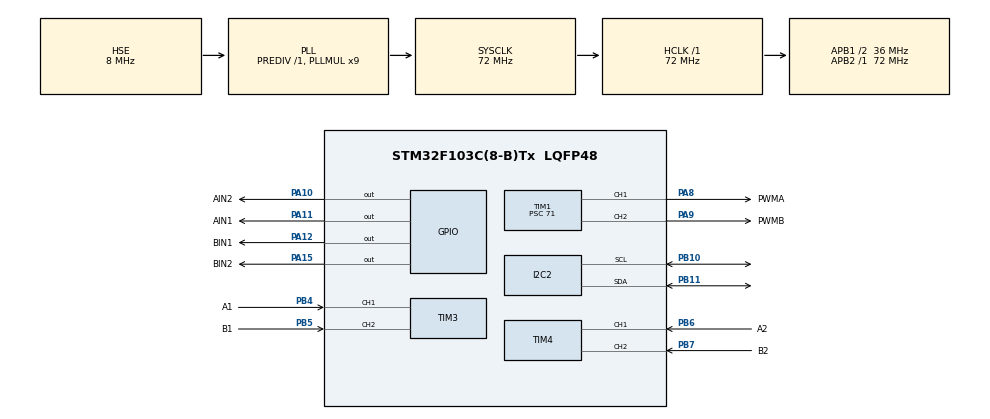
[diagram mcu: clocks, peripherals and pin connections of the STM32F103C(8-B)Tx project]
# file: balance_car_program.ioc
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I2C2.I2C_Mode=I2C_Fast
Mcu.Family=STM32F1
Mcu.Name=STM32F103C(8-B)Tx
Mcu.Package=LQFP48
NVIC.PriorityGroup=NVIC_PRIORITYGROUP_4
NVIC.TIM2_IRQn=true\:15\:0\:false\:false\:true\:false\:true\:true
NVIC.TimeBase=TIM2_IRQn
NVIC.TimeBaseIP=TIM2
PA10.GPIO_Label=AIN2
PA10.Signal=GPIO_Output
PA11.GPIO_Label=AIN1
PA11.PinState=GPIO_PIN_SET
PA11.Signal=GPIO_Output
PA12.GPIO_Label=BIN1
PA12.Signal=GPIO_Output
PA13.Mode=Serial_Wire
PA13.Signal=SYS_JTMS-SWDIO
PA14.Mode=Serial_Wire
PA14.Signal=SYS_JTCK-SWCLK
PA15.GPIO_Label=BIN2
PA15.PinState=GPIO_PIN_SET
PA15.Signal=GPIO_Output
PA8.GPIO_Label=PWMA
PA8.Signal=S_TIM1_CH1
PA9.GPIO_Label=PWMB
PA9.Signal=S_TIM1_CH2
PB10.Mode=I2C
PB10.Signal=I2C2_SCL
PB11.Mode=I2C
PB11.Signal=I2C2_SDA
PB4.GPIO_Label=A1
PB4.Signal=S_TIM3_CH1
PB5.GPIO_Label=B1
PB5.Signal=S_TIM3_CH2
PB6.GPIO_Label=A2
PB6.Signal=S_TIM4_CH1
PB7.GPIO_Label=B2
PB7.Signal=S_TIM4_CH2
PD0-OSC_IN.Mode=HSE-External-Oscillator
PD0-OSC_IN.Signal=RCC_OSC_IN
PD1-OSC_OUT.Mode=HSE-External-Oscillator
PD1-OSC_OUT.Signal=RCC_OSC_OUT
ProjectManager.HeapSize=0x200
ProjectManager.StackSize=0x400
ProjectManager.TargetToolchain=CMake
RCC.AHBFreq_Value=72000000
RCC.APB1CLKDivider=RCC_HCLK_DIV2
RCC.APB1Freq_Value=36000000
RCC.APB1TimFreq_Value=72000000
RCC.APB2Freq_Value=72000000
RCC.APB2TimFreq_Value=72000000
RCC.HCLKFreq_Value=72000000
RCC.PLLMUL=RCC_PLL_MUL9
RCC.PLLSourceVirtual=RCC_PLLSOURCE_HSE
RCC.SYSCLKFreq_VALUE=72000000
RCC.SYSCLKSource=RCC_SYSCLKSOURCE_PLLCLK
RCC.USBFreq_Value=72000000
SH.S_TIM1_CH1.0=TIM1_CH1,PWM Generation1 CH1
SH.S_TIM1_CH2.0=TIM1_CH2,PWM Generation2 CH2
SH.S_TIM3_CH1.0=TIM3_CH1,Encoder_Interface
SH.S_TIM3_CH2.0=TIM3_CH2,Encoder_Interface
SH.S_TIM4_CH1.0=TIM4_CH1,Encoder_Interface
SH.S_TIM4_CH2.0=TIM4_CH2,Encoder_Interface
TIM1.Channel-PWM\ Generation1\ CH1=TIM_CHANNEL_1
TIM1.Channel-PWM\ Generation2\ CH2=TIM_CHANNEL_2
TIM1.Period=999
TIM1.Prescaler=71
TIM3.EncoderMode=TIM_ENCODERMODE_TI12
TIM3.TIM_MasterSlaveMode=TIM_MASTERSLAVEMODE_DISABLE
TIM4.EncoderMode=TIM_ENCODERMODE_TI12
VP_SYS_VS_tim2.Mode=TIM2
VP_TIM1_VS_ClockSourceINT.Mode=Internal
board=custom

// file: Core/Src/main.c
/* USER CODE BEGIN Header */
/**
  ******************************************************************************
  * @file           : main.c
  * @brief          : Main program body
  ******************************************************************************
  * @attention
  *
  * Copyright (c) 2026 STMicroelectronics.
  * All rights reserved.
  *
  * This software is licensed under terms that can be found in the LICENSE file
  * in the root directory of this software component.
  * If no LICENSE file comes with this software, it is provided AS-IS.
  *
  ******************************************************************************
  */
/* USER CODE END Header */
#include "main.h"
#include "i2c.h"
#include "tim.h"
#include "gpio.h"

/* USER CODE BEGIN Includes */
#include "oled.h"
#include "MPU6050.h"
#include "oled_task.h"
#include "angle.h"
#include "speed.h"
#include "pid.h"
#include "direction.h"
/* USER CODE END Includes */

/* USER CODE BEGIN PV */
TaskHandle_t angle_task_handle;
TaskHandle_t oled_task_handle;
TaskHandle_t speed_task_handle;
TaskHandle_t pid_angle_task_handle;
TaskHandle_t pid_speed_task_handle;
/* USER CODE END PV */

void SystemClock_Config(void);

int main(void)
{

  /* USER CODE BEGIN 1 */
    BaseType_t xReturn;
  /* USER CODE END 1 */

  /* MCU Configuration--------------------------------------------------------*/

  /* Reset of all peripherals, Initializes the Flash interface and the Systick. */
  HAL_Init();

  /* Configure the system clock */
  SystemClock_Config();

  /* Initialize all configured peripherals */
  MX_GPIO_Init();
  MX_TIM1_Init();
  MX_I2C2_Init();
  MX_TIM3_Init();
  MX_TIM4_Init();
  /* USER CODE BEGIN 2 */
  OLED_Init();
    MPU6050_init();
    encoder_start();
    direction_forward();
    HAL_TIM_PWM_Start(&htim1, TIM_CHANNEL_1);
    HAL_TIM_PWM_Start(&htim1, TIM_CHANNEL_2);

    xReturn = xTaskCreate(angle_calculate_task, "angle_calculate_task", 100, NULL, 3, &angle_task_handle);
    configASSERT(xReturn == pdTRUE);

//    xReturn = xTaskCreate(pid_angle_task, "pid_angle_task", 100, NULL, 3, &pid_angle_task_handle);
//    configASSERT(xReturn == pdTRUE);

    xReturn = xTaskCreate(speed_get_value_task, "speed_get_value_task", 64, NULL, 2, &speed_task_handle);
    configASSERT(xReturn == pdTRUE);

//    xReturn = xTaskCreate(pid_speed_task, "pid_speed_task", 100, NULL, 2, &pid_speed_task_handle);
//    configASSERT(xReturn == pdTRUE);

    xReturn = xTaskCreate(oled_display_task, "oled_display_task", 100, NULL, 1, &oled_task_handle);
    configASSERT(xReturn == pdTRUE);

    vTaskStartScheduler();

  /* USER CODE END 2 */

  /* Infinite loop */
  while (1)
  {

  }
}

void SystemClock_Config(void)
{
  RCC_OscInitTypeDef RCC_OscInitStruct = {0};
  RCC_ClkInitTypeDef RCC_ClkInitStruct = {0};

  /** Initializes the RCC Oscillators according to the specified parameters
  * in the RCC_OscInitTypeDef structure.
  */
  RCC_OscInitStruct.OscillatorType = RCC_OSCILLATORTYPE_HSE;
  RCC_OscInitStruct.HSEState = RCC_HSE_ON;
  RCC_OscInitStruct.HSEPredivValue = RCC_HSE_PREDIV_DIV1;
  RCC_OscInitStruct.HSIState = RCC_HSI_ON;
  RCC_OscInitStruct.PLL.PLLState = RCC_PLL_ON;
  RCC_OscInitStruct.PLL.PLLSource = RCC_PLLSOURCE_HSE;
  RCC_OscInitStruct.PLL.PLLMUL = RCC_PLL_MUL9;
  if (HAL_RCC_OscConfig(&RCC_OscInitStruct) != HAL_OK)
  {
    Error_Handler();
  }

  /** Initializes the CPU, AHB and APB buses clocks
  */
  RCC_ClkInitStruct.ClockType = RCC_CLOCKTYPE_HCLK|RCC_CLOCKTYPE_SYSCLK
                              |RCC_CLOCKTYPE_PCLK1|RCC_CLOCKTYPE_PCLK2;
  RCC_ClkInitStruct.SYSCLKSource = RCC_SYSCLKSOURCE_PLLCLK;
  RCC_ClkInitStruct.AHBCLKDivider = RCC_SYSCLK_DIV1;
  RCC_ClkInitStruct.APB1CLKDivider = RCC_HCLK_DIV2;
  RCC_ClkInitStruct.APB2CLKDivider = RCC_HCLK_DIV1;

  if (HAL_RCC_ClockConfig(&RCC_ClkInitStruct, FLASH_LATENCY_2) != HAL_OK)
  {
    Error_Handler();
  }
}

void HAL_TIM_PeriodElapsedCallback(TIM_HandleTypeDef *htim)
{
  if (htim->Instance == TIM2)
  {
    HAL_IncTick();
  }
}

void Error_Handler(void)
{
  __disable_irq();
  while (1)
  {
  }
}
